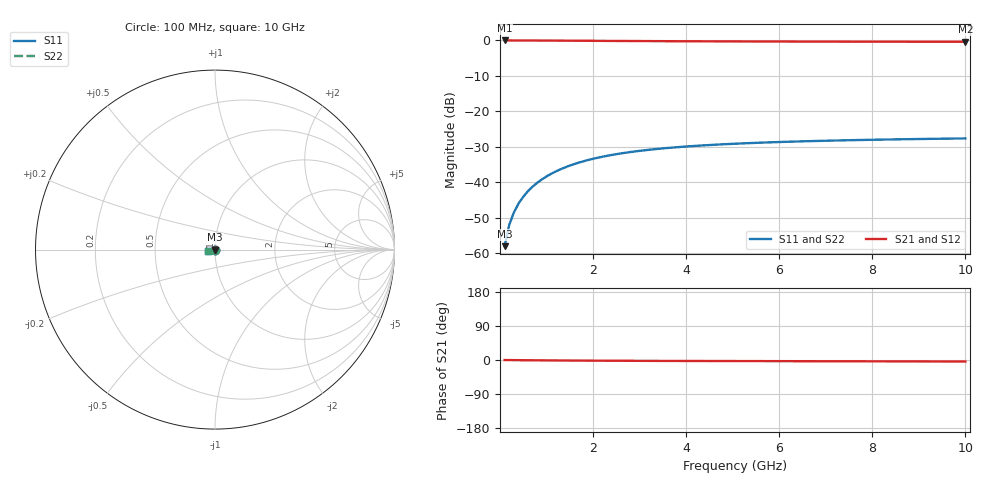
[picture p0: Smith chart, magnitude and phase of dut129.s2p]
! Touchstone file exported from HFSS 2024.1.0
!  File:  C:/UserFiles/LocalFiles/RDL_TSV_Batchsim/temp_TSV1_129_1778765300.aedt
!  Generated:  09:34:10 PM May 14, 2026
!  Design:  TSV1
!  Project:  temp_TSV1_129_1778765300
!  Setup:  Setup1
!  Solution:  Sweep
! Variables:
!  dtsv = 14.19um
!  hbump = 3um
!  htsv = 57.96um
!  lrdl = 252.1521522um
!  p = 40
!  p1 = 54.28um
!  t = 500um
!  trdl = 3um
!  wrdl = 24.89489489um
# GHz S MA R 50.000000
! Terminal data exported
! Port[1] = TSV22_T1
! Port[2] = TSV22_T2
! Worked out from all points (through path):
!   100 points, 100 MHz to 10 GHz, reference 50 ohm
!   highest |S21| = 0.00 dB at 100 MHz (marker M1); lowest = -0.4 dB at 10 GHz (marker M2)
!   lowest |S11| = -58.0 dB at 100 MHz (marker M3), VSWR 1.00, Z = 50 - j0.126 ohm
!   |S11| at or under -10 dB: start of sweep to end of sweep
!   |S22| runs from -58.0 to -27.6 dB; largest |S21 - S12| = 4.5e-15
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0.1  0.001264 -88.8  0.9999 -0.1  0.9999 -0.1  0.001264 -88.8
! Gamma 0 0 0 0
! Port Impedance 50 0 50 0
0.2  0.002527 -92.0  0.9997 -0.2  0.9997 -0.2  0.002527 -92.0
0.3  0.003788 -94.3  0.9995 -0.3  0.9995 -0.3  0.003788 -94.3
0.4  0.005041 -96.4  0.9992 -0.4  0.9992 -0.4  0.005041 -96.4
0.5  0.00628 -98.5  0.9988 -0.5  0.9988 -0.5  0.00628 -98.5
0.6  0.007501 -100.4  0.9984 -0.6  0.9984 -0.6  0.007501 -100.4
0.7  0.0087 -102.3  0.9979 -0.7  0.9979 -0.7  0.0087 -102.3
0.8  0.009875 -104.2  0.9973 -0.8  0.9973 -0.8  0.009875 -104.2
0.9  0.01102 -106.0  0.9967 -0.9  0.9967 -0.9  0.01102 -106.0
1.1  0.01323 -109.5  0.9953 -1.1  0.9953 -1.1  0.01323 -109.5
1.4  0.01629 -114.5  0.993 -1.4  0.993 -1.4  0.01629 -114.5
1.6  0.01817 -117.6  0.9914 -1.5  0.9914 -1.5  0.01817 -117.6
1.8  0.01991 -120.5  0.9897 -1.6  0.9897 -1.6  0.01991 -120.5
2.1  0.02227 -124.6  0.9872 -1.8  0.9872 -1.8  0.02227 -124.6
2.5  0.025 -129.5  0.984 -2.0  0.984 -2.0  0.025 -129.5
2.9  0.02731 -133.8  0.981 -2.2  0.981 -2.2  0.02731 -133.8
3.4  0.02972 -138.6  0.9776 -2.4  0.9776 -2.4  0.02972 -138.6
4.2  0.03271 -145.0  0.973 -2.6  0.973 -2.6  0.03271 -145.0
5.1  0.0352 -150.9  0.969 -2.8  0.969 -2.8  0.0352 -150.9
6.7  0.03822 -159.0  0.964 -3.2  0.964 -3.2  0.03822 -159.0
8.4  0.0403 -165.6  0.9604 -3.6  0.9604 -3.6  0.0403 -165.6
10  0.04167 -170.7  0.9581 -4.0  0.9581 -4.0  0.04167 -170.7
